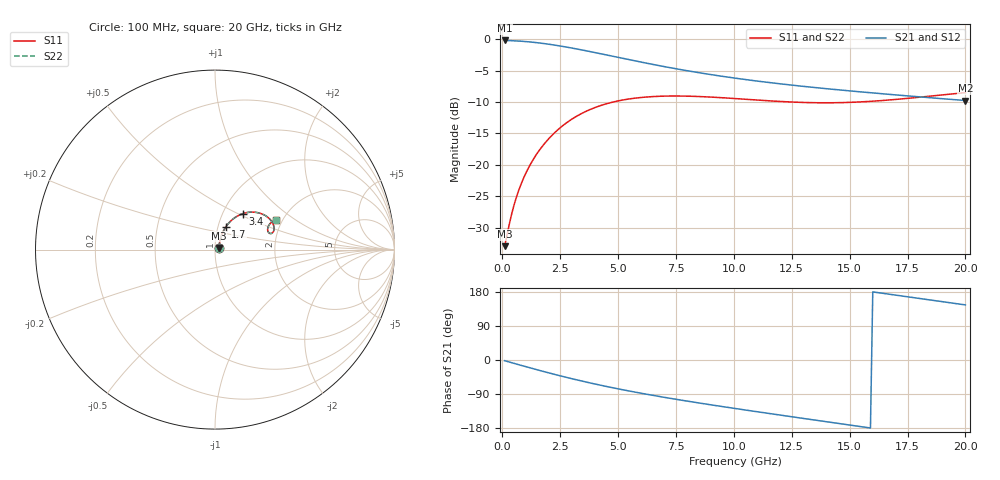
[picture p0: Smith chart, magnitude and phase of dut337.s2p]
! Touchstone file exported from HFSS 2024.1.0
!  File:  C:/UserFiles/LocalFiles/RDL_TSV_Batchsim/temp_RDL_TSV_337_1779633620.aedt
!  Generated:  10:57:27 PM May 24, 2026
!  Design:  RDL_TSV
!  Project:  temp_RDL_TSV_337_1779633620
!  Setup:  Setup1
!  Solution:  Sweep
! Variables:
!  dtsv = 5.18um
!  hbump = 3um
!  htsv = 98.28um
!  ldown = 328.66um
!  lrdl = 472.81um
!  p = 40
!  p1 = 51.3um
!  rhole = 10um
!  subl = 2877.22um
!  t = 450um
!  tdown = 4.62um
!  trdl = 3.12um
!  viad = 10um
!  wdown = 12.36um
!  wrdl = 17.43um
!  xbump = 18um
# GHz S MA R 50.000000
! Terminal data exported
! Port[1] = TM1_1_T1
! Port[2] = TM1_4_T1
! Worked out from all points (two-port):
!   200 points, 100 MHz to 20 GHz, reference 50 ohm
!   highest |S21| = -0.18 dB at 100 MHz (marker M1); lowest = -9.7 dB at 20 GHz (marker M2)
!   |S21| within 3 dB of the highest: start of sweep to 5.401 GHz
!   lowest |S11| = -33.0 dB at 100 MHz (marker M3), VSWR 1.05, Z = 52.1 + j0.877 ohm
!   |S11| at or under -10 dB: start of sweep to 4.775 GHz; 12.55 GHz to 15.32 GHz (2.769 GHz wide, 19.9 % of centre)
!   |S22| runs from -33.0 to -8.5 dB; largest |S21 - S12| = 8.6e-15
!   S11 on the Smith chart (normalised r, x): 100 MHz: 1.04, +0.02; 1.7 GHz: 1.09, +0.28; 3.4 GHz: 1.24, +0.54; 20 GHz: 1.85, +0.71
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0.1  0.02251 21.9  0.9791 -1.8  0.9791 -1.8  0.02251 21.9
! Gamma 0 0 0 0
! Port Impedance 50 0 50 0
0.3  0.0335 47.1  0.9768 -5.3  0.9768 -5.3  0.03349 47.1
0.5  0.04734 57.3  0.9732 -8.8  0.9732 -8.8  0.04734 57.3
0.8  0.06942 63.5  0.9659 -14.0  0.9659 -14.0  0.06942 63.5
1.2  0.09991 65.7  0.9525 -20.8  0.9525 -20.8  0.09992 65.7
1.7  0.1384 64.6  0.9302 -29.1  0.9302 -29.1  0.1384 64.6
2.1  0.1686 62.4  0.9087 -35.5  0.9087 -35.5  0.1686 62.4
2.5  0.1975 59.5  0.8847 -41.8  0.8847 -41.8  0.1976 59.5
2.9  0.2246 56.3  0.859 -47.8  0.859 -47.8  0.2246 56.3
3.4  0.2551 52.0  0.8253 -55.1  0.8253 -55.1  0.2551 52.0
3.5  0.2607 51.1  0.8185 -56.5  0.8185 -56.5  0.2607 51.1
4.2  0.2948 45.1  0.7707 -66.0  0.7707 -66.0  0.2949 45.1
4.9  0.3202 39.5  0.7245 -74.9  0.7245 -74.9  0.3203 39.5
5.8  0.3411 33.0  0.6694 -85.5  0.6694 -85.5  0.3412 33.0
6.8  0.3518 27.1  0.6156 -96.5  0.6156 -96.5  0.3521 27.1
8.3  0.3513 20.7  0.5493 -111.6  0.5493 -111.6  0.3515 20.7
10.1  0.3369 16.6  0.4891 -128.4  0.4891 -128.4  0.3373 16.6
11.7  0.3222 16.1  0.4486 -142.7  0.4486 -142.7  0.3225 16.1
13.4  0.3127 18.1  0.4146 -157.7  0.4146 -157.7  0.3131 18.0
15  0.3145 21.2  0.3883 -171.6  0.3883 -171.6  0.3147 21.1
16.7  0.3285 24.3  0.3644 173.6  0.3644 173.6  0.3286 24.1
20  0.3762 26.0  0.3255 145.4  0.3255 145.4  0.376 25.8
